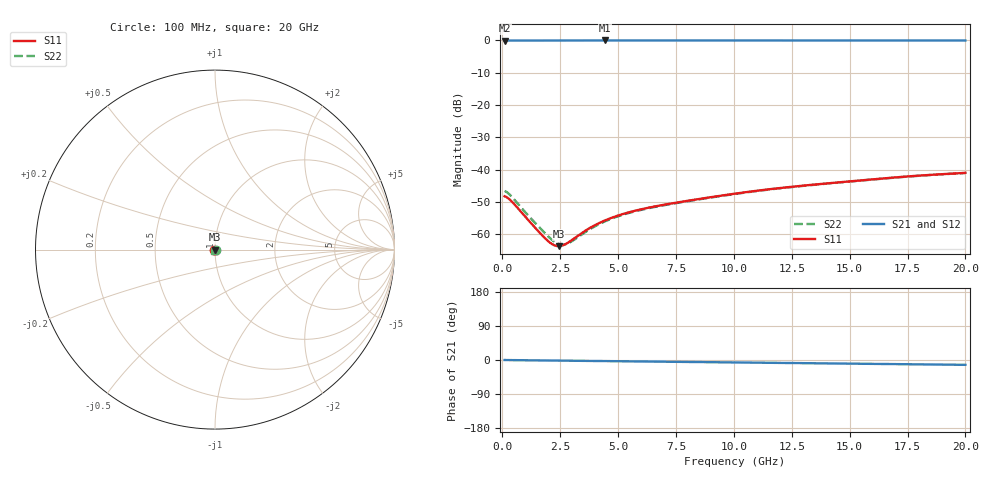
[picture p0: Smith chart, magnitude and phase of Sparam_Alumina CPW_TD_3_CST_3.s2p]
! TOUCHSTONE file generated by CST MICROWAVE STUDIO
! Date and time: Tue Jun 18 18:26:25 2024
! Project name: Alumina CPW_TD.cst
! Parameters = {L=200; L1=40; L2=20; L3=60; N=0.75; S1=9; S2=22; W_s1=20; W_s2=60; eps_sub=9.9; h=500; h2=0; tg=0.2; w=500; w_g=200; w_p=78}
! Header version: 2024
! Port assignment regex: !\s*Touchstone port\s*([0-9]+)\s*=\s*(CST MWS port|CST DES external port|CST DES block port)\s*(.+)\s* \(\"(.*)\"\)(\s*mode\s*([0-9]+))?.*
! Touchstone port assignment:
! Touchstone port 1 = CST MWS port 1 ("")
! Touchstone port 2 = CST MWS port 2 ("")
# GHz S MA R 50
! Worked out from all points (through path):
!   1001 points, 100 MHz to 20 GHz, reference 50 ohm
!   highest |S21| = -0.01 dB at 4.418 GHz (marker M1); lowest = 0.0 dB at 100 MHz (marker M2)
!   group delay of S21, straight-line fit = 1.77 ps
!   lowest |S11| = -63.7 dB at 2.428 GHz (marker M3), VSWR 1.00, Z = 50 - j0.0642 ohm
!   |S11| at or under -10 dB: start of sweep to end of sweep
!   |S22| runs from -63.2 to -41.1 dB; largest |S21 - S12| = 2e-07
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0.1  0.003866 -173.1  0.995 -0.1  0.995 -0.1  0.004669 -5.9
0.2393  0.003631 -164.4  0.9954 -0.2  0.9954 -0.2  0.004352 -13.4
0.4383  0.003127 -154.8  0.9962 -0.4  0.9962 -0.4  0.0037 -21.7
1.1149  0.001663 -141.7  0.9978 -0.8  0.9978 -0.8  0.001954 -33.2
1.6323  0.001038 -134.7  0.9983 -1.1  0.9983 -1.1  0.001241 -38.4
1.9308  0.0008088 -125.9  0.9985 -1.3  0.9985 -1.3  0.0009634 -45.0
2.1895  0.0006889 -113.7  0.9987 -1.4  0.9987 -1.4  0.0007943 -54.8
2.4283  0.0006519 -99.9  0.9988 -1.6  0.9988 -1.6  0.0007063 -67.5
2.6074  0.0006698 -89.9  0.9989 -1.7  0.9989 -1.7  0.0006882 -78.3
2.8064  0.0007269 -80.7  0.999 -1.8  0.999 -1.8  0.0007137 -89.6
3.0253  0.000821 -73.5  0.999 -1.9  0.999 -1.9  0.0007856 -99.6
3.4233  0.001036 -66.7  0.9991 -2.2  0.9991 -2.2  0.0009841 -110.4
3.9208  0.001331 -64.6  0.9992 -2.5  0.9992 -2.5  0.001277 -115.4
4.4183  0.001623 -65.5  0.9992 -2.8  0.9992 -2.8  0.00157 -116.1
4.8959  0.001888 -67.5  0.9992 -3.2  0.9992 -3.2  0.001837 -115.3
5.4332  0.002163 -70.0  0.9992 -3.5  0.9992 -3.5  0.002113 -113.7
6.7466  0.002755 -75.0  0.999 -4.3  0.999 -4.3  0.002706 -110.5
10.05  0.00424 -81.0  0.9988 -6.4  0.9988 -6.4  0.004192 -109.3
11.642  0.005016 -83.7  0.9986 -7.5  0.9986 -7.5  0.004968 -108.7
13.3733  0.005814 -86.5  0.9984 -8.6  0.9984 -8.6  0.005767 -108.2
16.6966  0.007427 -90.3  0.9982 -10.7  0.9982 -10.7  0.007381 -108.9
20  0.008897 -94.4  0.9979 -12.8  0.9979 -12.8  0.008854 -109.0
